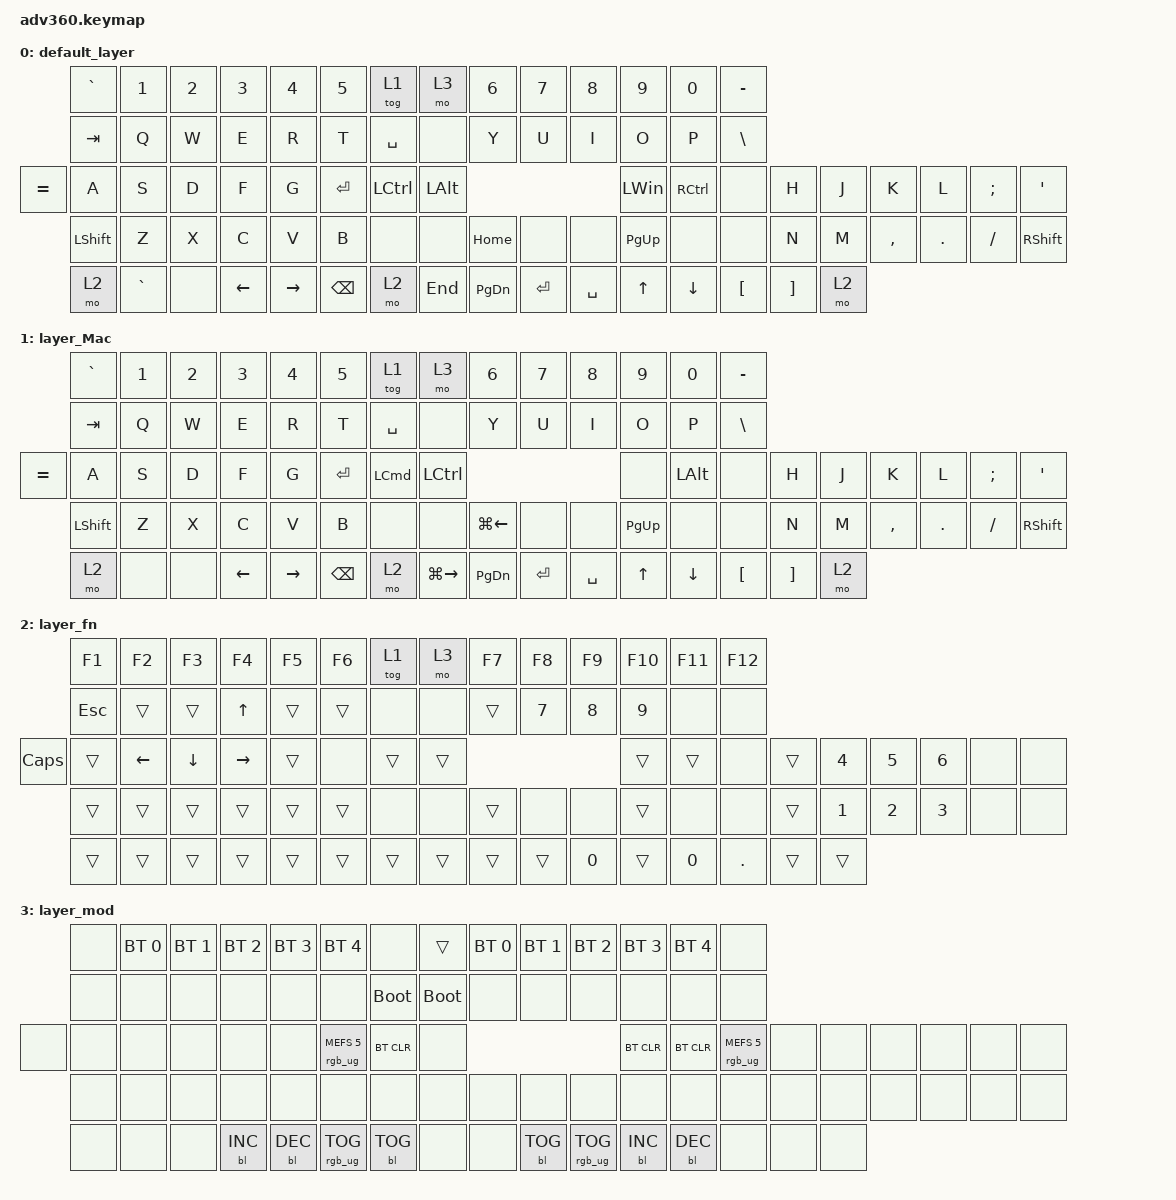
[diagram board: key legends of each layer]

/*
 * Copyright (c) 2020 The ZMK Contributors
 *
 * SPDX-License-Identifier: MIT
 */


/* THIS FILE WAS GENERATED!
 *
 * This file was generated automatically. You may or may not want to
 * edit it directly.
 */

#include <behaviors.dtsi>
#include <dt-bindings/zmk/keys.h>
#include <dt-bindings/zmk/bt.h>
#include <dt-bindings/zmk/rgb.h>
#include <dt-bindings/zmk/backlight.h>

/ {
  behaviors {
    #include "macros.dtsi"

    hm: homerow_mods {
        compatible = "zmk,behavior-hold-tap";
        label = "HOMEROW_MODS";
        #binding-cells = <2>;
        tapping-term-ms = <200>;
        quick_tap_ms = <175>;
        flavor = "tap-preferred";
        bindings = <&kp>, <&kp>;
    };
  };

    keymap {
        compatible = "zmk,keymap";


        default_layer {
            bindings = <
 &kp GRAVE     &kp N1  &kp N2    &kp N3     &kp N4    &kp N5               &tog 1      &mo 3     &kp N6     &kp N7     &kp N8        &kp N9     &kp N0  &kp MINUS
   &kp TAB      &kp Q   &kp W     &kp E      &kp R     &kp T            &kp SPACE      &none      &kp Y      &kp U      &kp I         &kp O      &kp P   &kp BSLH
 &kp EQUAL      &kp A   &kp S     &kp D      &kp F     &kp G            &kp ENTER  &kp LCTRL   &kp LALT                        &kp LEFT_WIN  &kp RCTRL      &none     &kp H   &kp J      &kp K    &kp L  &kp SEMI    &kp SQT
 &kp LSHFT      &kp Z   &kp X     &kp C      &kp V     &kp B                &none      &none   &kp HOME      &none      &none     &kp PG_UP      &none      &none     &kp N   &kp M  &kp COMMA  &kp DOT  &kp FSLH  &kp RSHFT
     &mo 2  &kp GRAVE   &none  &kp LEFT  &kp RIGHT  &kp BSPC                &mo 2    &kp END  &kp PG_DN  &kp ENTER  &kp SPACE        &kp UP   &kp DOWN   &kp LBKT  &kp RBKT   &mo 2
            >;
        };

        layer_Mac {
            bindings = <
      &kp GRAVE  &kp N1  &kp N2    &kp N3     &kp N4    &kp N5               &tog 1                &mo 3              &kp N6  &kp NUMBER_7  &kp NUMBER_8     &kp N9        &kp N0         &kp MINUS
        &kp TAB   &kp Q   &kp W     &kp E      &kp R     &kp T            &kp SPACE                &none               &kp Y         &kp U         &kp I      &kp O         &kp P     &kp BACKSLASH
      &kp EQUAL   &kp A   &kp S     &kp D      &kp F     &kp G            &kp ENTER     &kp LEFT_COMMAND           &kp LCTRL                                  &none  &kp LEFT_ALT             &none              &kp H   &kp J      &kp K    &kp L  &kp SEMICOLON  &kp SINGLE_QUOTE
 &kp LEFT_SHIFT   &kp Z   &kp X     &kp C      &kp V     &kp B                &none                &none  &kp LG(LEFT_ARROW)         &none         &none  &kp PG_UP         &none             &none              &kp N   &kp M  &kp COMMA  &kp DOT      &kp SLASH   &kp RIGHT_SHIFT
          &mo 2   &none   &none  &kp LEFT  &kp RIGHT  &kp BSPC                &mo 2  &kp LG(RIGHT_ARROW)           &kp PG_DN     &kp ENTER     &kp SPACE     &kp UP      &kp DOWN  &kp LEFT_BRACKET  &kp RIGHT_BRACKET   &mo 2
            >;
        };

        layer_fn {
            bindings = <
       &kp F1  &kp F2    &kp F3    &kp F4     &kp F5  &kp F6            &tog 1   &mo 3  &kp F7        &kp F8        &kp F9       &kp F10       &kp F11  &kp F12
      &kp ESC  &trans    &trans    &kp UP     &trans  &trans             &none   &none  &trans  &kp NUMBER_7  &kp NUMBER_8  &kp NUMBER_9         &none    &none
 &kp CAPSLOCK  &trans  &kp LEFT  &kp DOWN  &kp RIGHT  &trans             &none  &trans  &trans                                    &trans        &trans    &none  &trans  &kp NUMBER_4  &kp NUMBER_5  &kp NUMBER_6   &none   &none
       &trans  &trans    &trans    &trans     &trans  &trans             &none   &none  &trans         &none         &none        &trans         &none    &none  &trans  &kp NUMBER_1  &kp NUMBER_2  &kp NUMBER_3   &none   &none
       &trans  &trans    &trans    &trans     &trans  &trans            &trans  &trans  &trans        &trans  &kp NUMBER_0        &trans  &kp NUMBER_0  &kp DOT  &trans        &trans
            >;
        };

        layer_mod {
            bindings = <
  &none  &bt BT_SEL 0  &bt BT_SEL 1  &bt BT_SEL 2  &bt BT_SEL 3     &bt BT_SEL 4                             &none       &trans  &bt BT_SEL 0  &bt BT_SEL 1     &bt BT_SEL 2  &bt BT_SEL 3  &bt BT_SEL 4                   &none
  &none         &none         &none         &none         &none            &none                       &bootloader  &bootloader         &none         &none            &none         &none         &none                   &none
  &none         &none         &none         &none         &none            &none            &rgb_ug RGB_MEFS_CMD 5   &bt BT_CLR         &none                                   &bt BT_CLR    &bt BT_CLR  &rgb_ug RGB_MEFS_CMD 5   &none   &none   &none   &none   &none   &none
  &none         &none         &none         &none         &none            &none                             &none        &none         &none         &none            &none         &none         &none                   &none   &none   &none   &none   &none   &none   &none
  &none         &none         &none    &bl BL_INC    &bl BL_DEC  &rgb_ug RGB_TOG                        &bl BL_TOG        &none         &none    &bl BL_TOG  &rgb_ug RGB_TOG    &bl BL_INC    &bl BL_DEC                   &none   &none   &none
            >;
        };

    };
};
